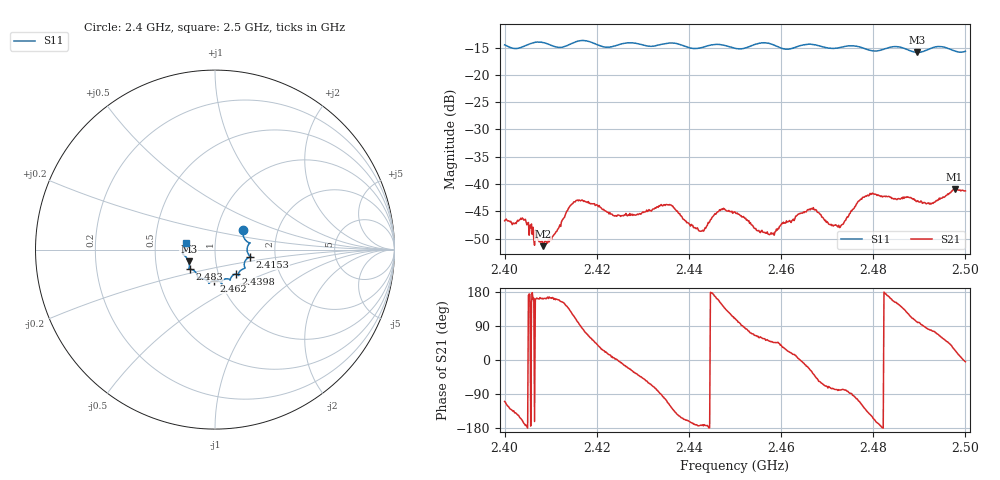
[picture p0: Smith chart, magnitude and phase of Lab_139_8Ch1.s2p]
# Hz S RI R 50
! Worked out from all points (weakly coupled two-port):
!   601 points, 2.4 GHz to 2.5 GHz, reference 50 ohm
!   highest |S21| = -40.89 dB at 2.4977 GHz (marker M1); lowest = -51.4 dB at 2.4083 GHz (marker M2)
!   lowest |S11| = -15.9 dB at 2.4895 GHz (marker M3), VSWR 1.38, Z = 37 - j5 ohm
!   |S11| at or under -10 dB: start of sweep to end of sweep
!   S12 and S22 are empty: the file has one direction only
!   S11 on the Smith chart (normalised r, x): 2.4 GHz: 1.33, +0.29; 2.4153 GHz: 1.48, -0.12; 2.4398 GHz: 1.21, -0.34; 2.462 GHz: 0.93, -0.33; 2.483 GHz: 0.74, -0.17; 2.5 GHz: 0.72, +0.06
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2.4e9  0.1553 0.1064  -0.00153 -0.00434  0 0  0 0
2.404e9  0.1749 0.0477  -0.00459 -0.0014  0 0  0 0
2.408333e9  0.1945 0.0367  -0.00255 0.000881  0 0  0 0
2.415333e9  0.1964 -0.0388  -0.00239 0.00644  0 0  0 0
2.416667e9  0.2019 -0.0429  0.000422 0.0071  0 0  0 0
2.424e9  0.1627 -0.0871  0.00513 0.000204  0 0  0 0
2.433333e9  0.1312 -0.1337  0.00076 -0.00606  0 0  0 0
2.436333e9  0.1324 -0.1448  -0.00383 -0.00501  0 0  0 0
2.439833e9  0.1153 -0.1363  -0.00414 -0.00151  0 0  0 0
2.442833e9  0.0903 -0.1535  -0.00369 -0.000462  0 0  0 0
2.446667e9  0.0847 -0.1699  -0.0052 0.0026  0 0  0 0
2.45e9  0.0648 -0.1628  -0.00189 0.00521  0 0  0 0
2.457167e9  0.0388 -0.1915  0.00217 0.00272  0 0  0 0
2.462e9  -0.00513 -0.1731  0.00428 0.00155  0 0  0 0
2.466667e9  -0.0343 -0.1876  0.00514 -0.00305  0 0  0 0
2.472667e9  -0.0768 -0.1603  0.000742 -0.00392  0 0  0 0
2.477833e9  -0.0981 -0.146  -0.00416 -0.00634  0 0  0 0
2.483e9  -0.1376 -0.1096  -0.00754 0.00129  0 0  0 0
2.483333e9  -0.1401 -0.1094  -0.00753 0.00163  0 0  0 0
2.4895e9  -0.1463 -0.0659  -0.00126 0.0068  0 0  0 0
2.497667e9  -0.1656 0.00106  0.00805 0.00408  0 0  0 0
2.5e9  -0.1599 0.0392  0.00863 -0.00069  0 0  0 0
